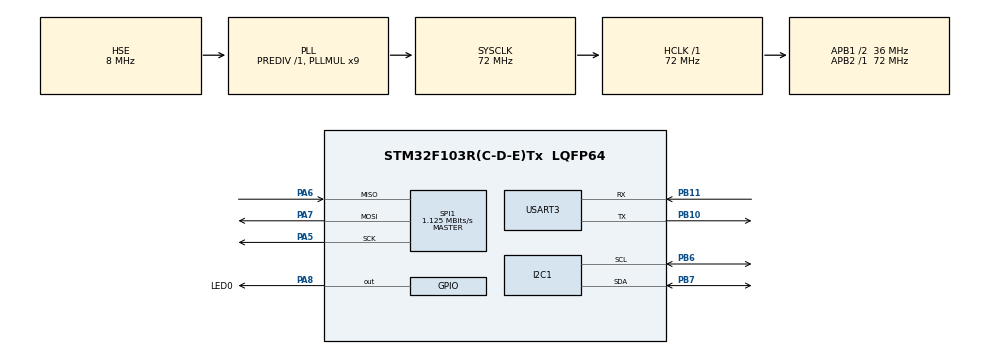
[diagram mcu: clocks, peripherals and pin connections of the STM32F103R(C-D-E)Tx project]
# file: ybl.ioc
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Mcu.Family=STM32F1
Mcu.Name=STM32F103R(C-D-E)Tx
Mcu.Package=LQFP64
NVIC.PriorityGroup=NVIC_PRIORITYGROUP_4
PA13.Mode=Serial_Wire
PA13.Signal=SYS_JTMS-SWDIO
PA14.Mode=Serial_Wire
PA14.Signal=SYS_JTCK-SWCLK
PA5.Mode=Full_Duplex_Master
PA5.Signal=SPI1_SCK
PA6.Mode=Full_Duplex_Master
PA6.Signal=SPI1_MISO
PA7.Mode=Full_Duplex_Master
PA7.Signal=SPI1_MOSI
PA8.GPIO_Label=LED0
PA8.Signal=GPIO_Output
PB10.Mode=Asynchronous
PB10.Signal=USART3_TX
PB11.Mode=Asynchronous
PB11.Signal=USART3_RX
PB6.Mode=I2C
PB6.Signal=I2C1_SCL
PB7.Mode=I2C
PB7.Signal=I2C1_SDA
PC14-OSC32_IN.Mode=LSE-External-Oscillator
PC14-OSC32_IN.Signal=RCC_OSC32_IN
PC15-OSC32_OUT.Mode=LSE-External-Oscillator
PC15-OSC32_OUT.Signal=RCC_OSC32_OUT
PD0-OSC_IN.Mode=HSE-External-Oscillator
PD0-OSC_IN.Signal=RCC_OSC_IN
PD1-OSC_OUT.Mode=HSE-External-Oscillator
PD1-OSC_OUT.Signal=RCC_OSC_OUT
ProjectManager.HeapSize=0x200
ProjectManager.StackSize=0x400
ProjectManager.TargetToolchain=STM32CubeIDE
RCC.AHBFreq_Value=72000000
RCC.APB1CLKDivider=RCC_HCLK_DIV2
RCC.APB1Freq_Value=36000000
RCC.APB1TimFreq_Value=72000000
RCC.APB2Freq_Value=72000000
RCC.APB2TimFreq_Value=72000000
RCC.HCLKFreq_Value=72000000
RCC.PLLMUL=RCC_PLL_MUL9
RCC.PLLSourceVirtual=RCC_PLLSOURCE_HSE
RCC.RTCClockSelection=RCC_RTCCLKSOURCE_LSE
RCC.SYSCLKFreq_VALUE=72000000
RCC.SYSCLKSource=RCC_SYSCLKSOURCE_PLLCLK
RCC.USBFreq_Value=72000000
SPI1.BaudRatePrescaler=SPI_BAUDRATEPRESCALER_64
SPI1.CalculateBaudRate=1.125 MBits/s
SPI1.Direction=SPI_DIRECTION_2LINES
SPI1.Mode=SPI_MODE_MASTER
SPI1.VirtualType=VM_MASTER
USART3.VirtualMode=VM_ASYNC
VP_RTC_VS_RTC_Activate.Mode=RTC_Enabled
VP_RTC_VS_RTC_Calendar.Mode=RTC_Calendar
board=custom

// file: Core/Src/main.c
/* USER CODE BEGIN Header */
/**
  ******************************************************************************
  * @file           : main.c
  * @brief          : Main program body
  ******************************************************************************
  * @attention
  *
  * Copyright (c) 2022 STMicroelectronics.
  * All rights reserved.
  *
  * This software is licensed under terms that can be found in the LICENSE file
  * in the root directory of this software component.
  * If no LICENSE file comes with this software, it is provided AS-IS.
  *
  ******************************************************************************
  */
#include <stdio.h>
/* USER CODE END Header */
#include "main.h"
#include "i2c.h"
#include "rtc.h"
#include "spi.h"
#include "usart.h"
#include "gpio.h"

/* USER CODE BEGIN PTD */
pFunction JumpToApplication;
uint32_t JumpAddress;
uint8_t buf[128];

/* USER CODE END PTD */

void SystemClock_Config(void);

/* USER CODE BEGIN 0 */
#ifdef __GNUC__
/* With GCC, small printf (option LD Linker->Libraries->Small printf
 set to 'Yes') calls __io_putchar() */
#define PUTCHAR_PROTOTYPE int __io_putchar(int ch)
#else
#define PUTCHAR_PROTOTYPE int fputc(int ch, FILE *f)
#endif /* __GNUC__ */
/* USER CODE END 0 */

int main(void)
{

  /* MCU Configuration--------------------------------------------------------*/

  /* Reset of all peripherals, Initializes the Flash interface and the Systick. */
  HAL_Init();

  /* Configure the system clock */
  SystemClock_Config();

  /* Initialize all configured peripherals */
  MX_GPIO_Init();
  MX_RTC_Init();
  MX_USART3_UART_Init();
  MX_I2C1_Init();
  MX_SPI1_Init();
  /* USER CODE BEGIN 2 */
  printf("Bootloader start...\r\n");

  if (((*(__IO uint32_t*) APPLICATION_ADDRESS ) & 0x2FFE0000) == 0x20000000) {
  		/* Jump to user application */

  		/* shut off irq and all peripherals */
//  		SysTick->CTRL = 0;
//  		SysTick->LOAD = 0;
//  		SysTick->VAL = 0;
//  		__disable_irq();
  		__HAL_RCC_SYSCFG_CLK_DISABLE();
//
  		HAL_RTC_MspDeInit(&hrtc);
  		HAL_UART_MspDeInit(&huart3);
//  		HAL_UART_MspDeInit(&huart1);
//  		HAL_SPI_MspDeInit(&hspi1);
  		MX_GPIO_DeInit();
  		HAL_I2C_MspDeInit(&hi2c1);
  		HAL_SPI_MspDeInit(&hspi1);

  		HAL_RCC_DeInit();
  		HAL_DeInit();

  		JumpAddress = *(__IO uint32_t*) (APPLICATION_ADDRESS + 4);
  		JumpToApplication = (pFunction) (JumpAddress);
  		/* Initialize user application's Stack Pointer */

  		__set_MSP(*((__IO uint32_t*) APPLICATION_ADDRESS ));
  		JumpToApplication();

  	}

  /* USER CODE END 2 */

  /* Infinite loop */
  while (1)
  {

    /* USER CODE BEGIN 3 */
	  HAL_GPIO_TogglePin(LED0_GPIO_Port, LED0_Pin);
	  HAL_Delay(1000);
  }
  /* USER CODE END 3 */
}

void SystemClock_Config(void)
{
  RCC_OscInitTypeDef RCC_OscInitStruct = {0};
  RCC_ClkInitTypeDef RCC_ClkInitStruct = {0};
  RCC_PeriphCLKInitTypeDef PeriphClkInit = {0};

  /** Initializes the RCC Oscillators according to the specified parameters
  * in the RCC_OscInitTypeDef structure.
  */
  RCC_OscInitStruct.OscillatorType = RCC_OSCILLATORTYPE_HSE|RCC_OSCILLATORTYPE_LSE;
  RCC_OscInitStruct.HSEState = RCC_HSE_ON;
  RCC_OscInitStruct.HSEPredivValue = RCC_HSE_PREDIV_DIV1;
  RCC_OscInitStruct.LSEState = RCC_LSE_ON;
  RCC_OscInitStruct.HSIState = RCC_HSI_ON;
  RCC_OscInitStruct.PLL.PLLState = RCC_PLL_ON;
  RCC_OscInitStruct.PLL.PLLSource = RCC_PLLSOURCE_HSE;
  RCC_OscInitStruct.PLL.PLLMUL = RCC_PLL_MUL9;
  if (HAL_RCC_OscConfig(&RCC_OscInitStruct) != HAL_OK)
  {
    Error_Handler();
  }

  /** Initializes the CPU, AHB and APB buses clocks
  */
  RCC_ClkInitStruct.ClockType = RCC_CLOCKTYPE_HCLK|RCC_CLOCKTYPE_SYSCLK
                              |RCC_CLOCKTYPE_PCLK1|RCC_CLOCKTYPE_PCLK2;
  RCC_ClkInitStruct.SYSCLKSource = RCC_SYSCLKSOURCE_PLLCLK;
  RCC_ClkInitStruct.AHBCLKDivider = RCC_SYSCLK_DIV1;
  RCC_ClkInitStruct.APB1CLKDivider = RCC_HCLK_DIV2;
  RCC_ClkInitStruct.APB2CLKDivider = RCC_HCLK_DIV1;

  if (HAL_RCC_ClockConfig(&RCC_ClkInitStruct, FLASH_LATENCY_2) != HAL_OK)
  {
    Error_Handler();
  }
  PeriphClkInit.PeriphClockSelection = RCC_PERIPHCLK_RTC;
  PeriphClkInit.RTCClockSelection = RCC_RTCCLKSOURCE_LSE;
  if (HAL_RCCEx_PeriphCLKConfig(&PeriphClkInit) != HAL_OK)
  {
    Error_Handler();
  }
}

/* USER CODE BEGIN 4 */
/**
 * @brief  Retargets the C library printf function to the USART.
 * @param  None
 * @retval None
 */
PUTCHAR_PROTOTYPE {
	/* Place your implementation of fputc here */
	/* e.g. write a character to the USART1 and Loop until the end of transmission */
	HAL_UART_Transmit(&huart3, (uint8_t*) &ch, 1, 0xFFFF);

	return ch;
}
/* USER CODE END 4 */

void Error_Handler(void)
{
  __disable_irq();
  while (1)
  {
  }
}
